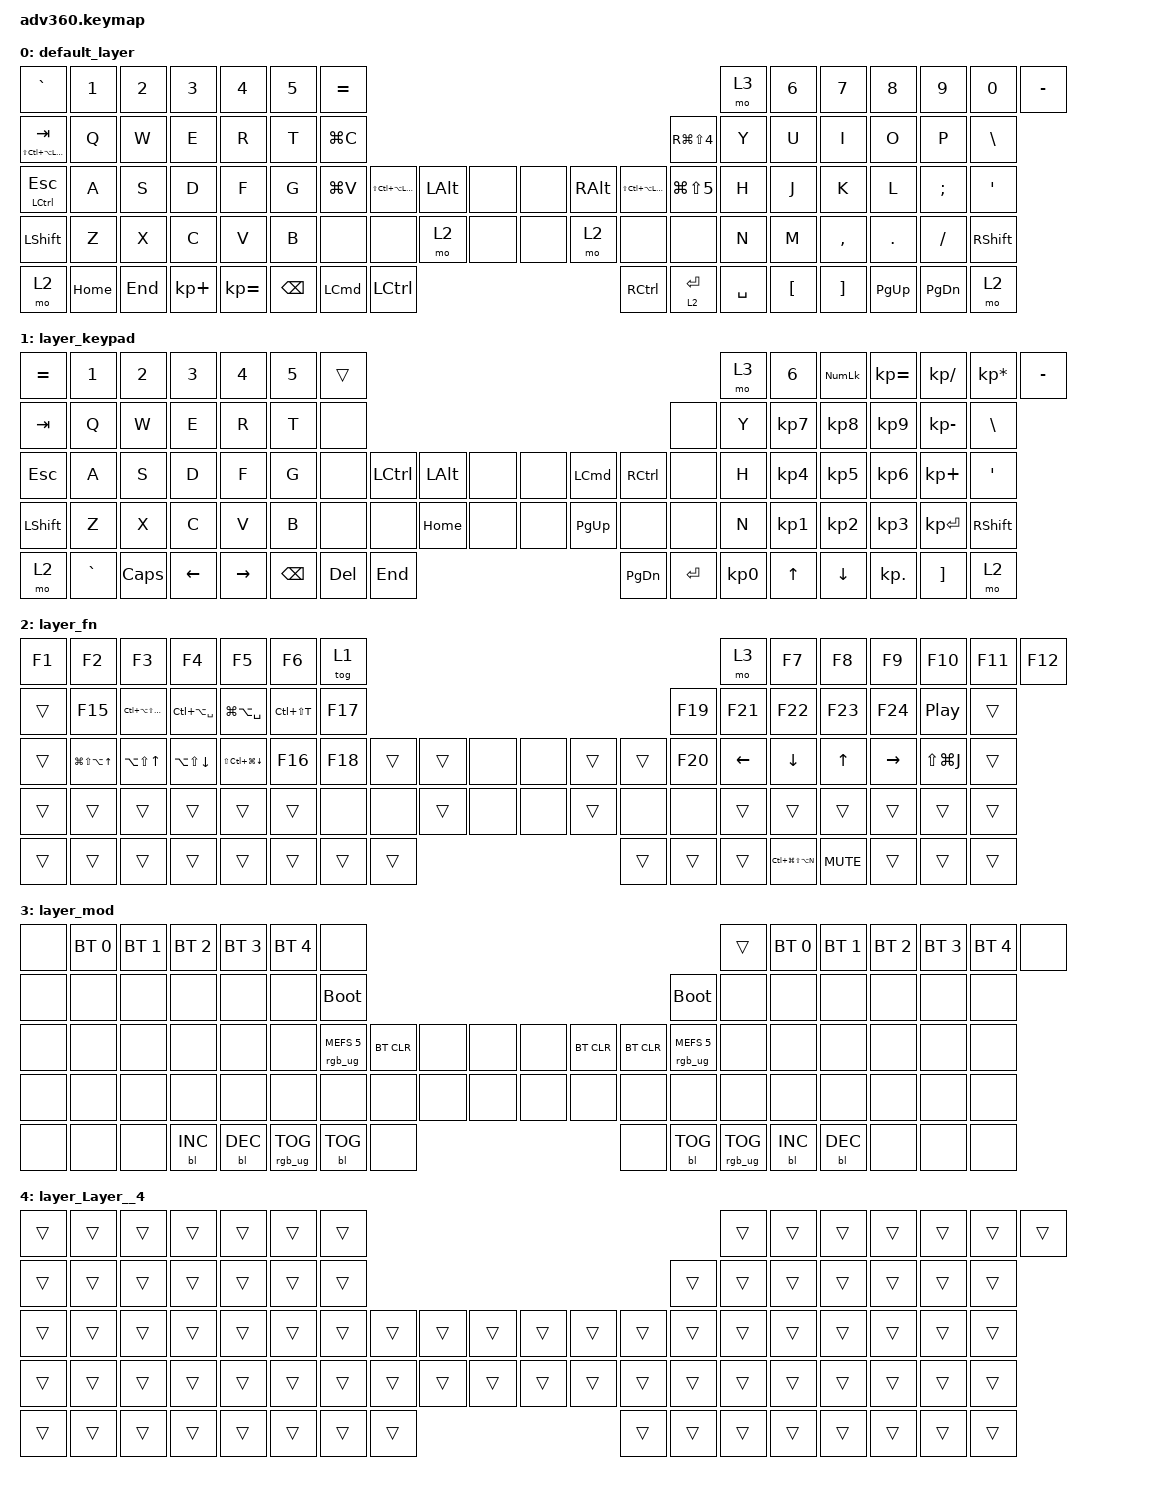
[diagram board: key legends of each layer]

/*
 * Copyright (c) 2020 The ZMK Contributors
 *
 * SPDX-License-Identifier: MIT
 */


/* THIS FILE WAS GENERATED!
 *
 * This file was generated automatically. You may or may not want to
 * edit it directly.
 */

#include <behaviors.dtsi>
#include <dt-bindings/zmk/keys.h>
#include <dt-bindings/zmk/bt.h>
#include <dt-bindings/zmk/rgb.h>
#include <dt-bindings/zmk/backlight.h>

#define HYPER LS(LC(LA(LGUI)))
/ {
  behaviors {
    #include "macros.dtsi"

    hm: homerow_mods {
        compatible = "zmk,behavior-hold-tap";
        label = "HOMEROW_MODS";
        #binding-cells = <2>;
        tapping-term-ms = <200>;
        quick_tap_ms = <175>;
        flavor = "tap-preferred";
        bindings = <&kp>, <&kp>;
    };
  };

    keymap {
        compatible = "zmk,keymap";


        default_layer {
            bindings = <
               &kp GRAVE    &kp N1   &kp N2       &kp N3        &kp N4  &kp N5                &kp EQUAL                                                                               &mo 3  &kp N6    &kp N7     &kp N8     &kp N9         &kp N0  &kp MINUS
           &mt HYPER TAB     &kp Q    &kp W        &kp E         &kp R   &kp T                &kp LG(C)                                                                &kp RG(LS(NUMBER_4))   &kp Y     &kp U      &kp I      &kp O          &kp P   &kp BSLH
 &mt LEFT_CONTROL ESCAPE     &kp A    &kp S        &kp D         &kp F   &kp G                &kp LG(V)  &kp HYPER   &kp LALT   &none   &none   &kp RALT    &kp HYPER  &kp LG(LS(NUMBER_5))   &kp H     &kp J      &kp K      &kp L       &kp SEMI    &kp SQT
               &kp LSHFT     &kp Z    &kp X        &kp C         &kp V   &kp B                    &none      &none      &mo 2   &none   &none      &mo 2        &none                 &none   &kp N     &kp M  &kp COMMA    &kp DOT       &kp FSLH  &kp RSHFT
                   &mo 2  &kp HOME  &kp END  &kp KP_PLUS  &kp KP_EQUAL                    &kp BACKSPACE   &kp LCMD  &kp LCTRL                  &kp RCTRL  &lt 2 ENTER             &kp SPACE          &kp LBKT   &kp RBKT  &kp PG_UP  &kp PAGE_DOWN      &mo 2
            >;
        };

        layer_keypad {
            bindings = <
 &kp EQUAL     &kp N1    &kp N2    &kp N3     &kp N4  &kp N5              &trans                                                                 &mo 3  &kp N6  &kp KP_NUM  &kp KP_EQUAL  &kp KP_DIVIDE  &kp KP_MULTIPLY  &kp MINUS
   &kp TAB      &kp Q     &kp W     &kp E      &kp R   &kp T               &none                                                                 &none   &kp Y   &kp KP_N7     &kp KP_N8      &kp KP_N9     &kp KP_MINUS   &kp BSLH
   &kp ESC      &kp A     &kp S     &kp D      &kp F   &kp G               &none  &kp LCTRL  &kp LALT   &none   &none   &kp LCMD  &kp RCTRL      &none   &kp H   &kp KP_N4     &kp KP_N5      &kp KP_N6      &kp KP_PLUS    &kp SQT
 &kp LSHFT      &kp Z     &kp X     &kp C      &kp V   &kp B               &none      &none  &kp HOME   &none   &none  &kp PG_UP      &none      &none   &kp N   &kp KP_N1     &kp KP_N2      &kp KP_N3     &kp KP_ENTER  &kp RSHFT
     &mo 2  &kp GRAVE  &kp CAPS  &kp LEFT  &kp RIGHT                    &kp BSPC    &kp DEL   &kp END                  &kp PG_DN  &kp ENTER  &kp KP_N0              &kp UP      &kp DOWN     &kp KP_DOT         &kp RBKT      &mo 2
            >;
        };

        layer_fn {
            bindings = <
 &kp F1                    &kp F2                 &kp F3                  &kp F4                      &kp F5         &kp F6             &tog 1                                                    &mo 3    &kp F7                 &kp F8      &kp F9    &kp F10           &kp F11  &kp F12
 &trans                   &kp F15  &kp LC(LA(LS(LG(W))))       &kp LC(LA(SPACE))           &kp LG(LA(SPACE))  &kp LC(LS(T))            &kp F17                                                  &kp F19   &kp F21                &kp F22     &kp F23    &kp F24  &kp C_PLAY_PAUSE   &trans
 &trans  &kp LG(LS(LA(UP_ARROW)))   &kp LA(LS(UP_ARROW))  &kp LA(LS(DOWN_ARROW))  &kp LS(LC(LG(DOWN_ARROW)))        &kp F16            &kp F18  &trans  &trans   &none   &none  &trans  &trans  &kp F20  &kp LEFT               &kp DOWN      &kp UP  &kp RIGHT     &kp LS(LG(J))   &trans
 &trans                    &trans                 &trans                  &trans                      &trans         &trans              &none   &none  &trans   &none   &none  &trans   &none    &none    &trans                 &trans      &trans     &trans            &trans   &trans
 &trans                    &trans                 &trans                  &trans                      &trans                            &trans  &trans  &trans                  &trans  &trans   &trans            &kp LC(LG(LS(LA(N))))  &kp K_MUTE     &trans            &trans   &trans
            >;
        };

        layer_mod {
            bindings = <
  &none  &bt BT_SEL 0  &bt BT_SEL 1  &bt BT_SEL 2  &bt BT_SEL 3  &bt BT_SEL 4                             &none                                                                              &trans  &bt BT_SEL 0  &bt BT_SEL 1  &bt BT_SEL 2  &bt BT_SEL 3  &bt BT_SEL 4   &none
  &none         &none         &none         &none         &none         &none                       &bootloader                                                                         &bootloader         &none         &none         &none         &none         &none   &none
  &none         &none         &none         &none         &none         &none            &rgb_ug RGB_MEFS_CMD 5  &bt BT_CLR   &none   &none   &none  &bt BT_CLR  &bt BT_CLR  &rgb_ug RGB_MEFS_CMD 5         &none         &none         &none         &none         &none   &none
  &none         &none         &none         &none         &none         &none                             &none       &none   &none   &none   &none       &none       &none                   &none         &none         &none         &none         &none         &none   &none
  &none         &none         &none    &bl BL_INC    &bl BL_DEC                                 &rgb_ug RGB_TOG  &bl BL_TOG   &none                       &none  &bl BL_TOG         &rgb_ug RGB_TOG                  &bl BL_INC    &bl BL_DEC         &none         &none   &none
            >;
        };

        layer_Layer__4 {
            bindings = <
 &trans  &trans  &trans  &trans  &trans  &trans            &trans                                                  &trans  &trans  &trans  &trans  &trans  &trans  &trans
 &trans  &trans  &trans  &trans  &trans  &trans            &trans                                                  &trans  &trans  &trans  &trans  &trans  &trans  &trans
 &trans  &trans  &trans  &trans  &trans  &trans            &trans  &trans  &trans  &trans  &trans  &trans  &trans  &trans  &trans  &trans  &trans  &trans  &trans  &trans
 &trans  &trans  &trans  &trans  &trans  &trans            &trans  &trans  &trans  &trans  &trans  &trans  &trans  &trans  &trans  &trans  &trans  &trans  &trans  &trans
 &trans  &trans  &trans  &trans  &trans                    &trans  &trans  &trans                  &trans  &trans  &trans          &trans  &trans  &trans  &trans  &trans
            >;
        };

    };
};
